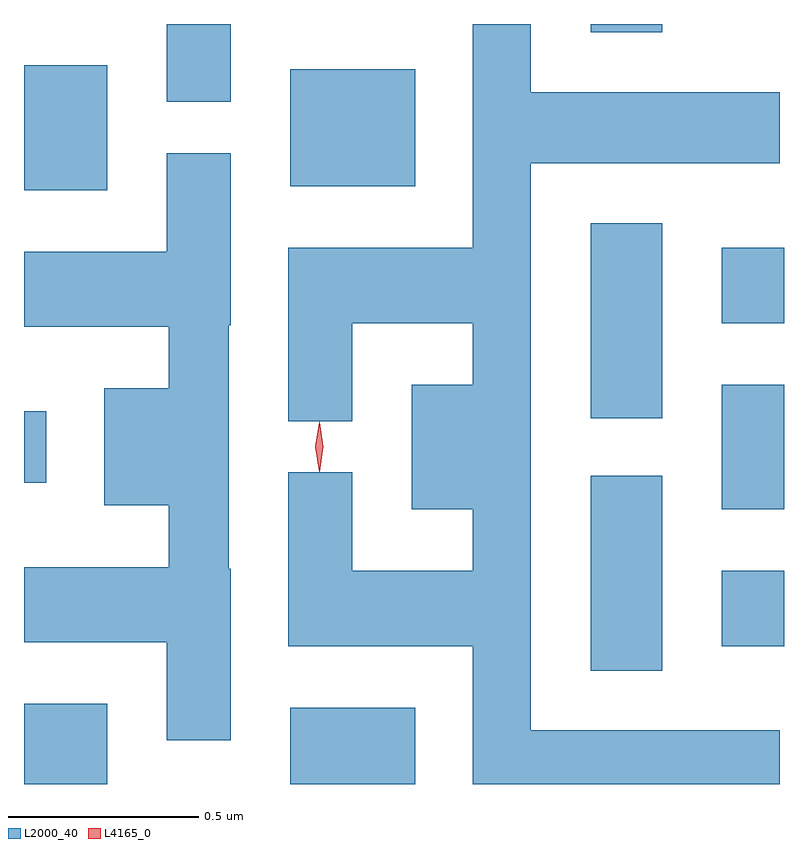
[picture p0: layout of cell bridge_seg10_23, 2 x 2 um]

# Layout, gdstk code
import gdstk
lib = gdstk.Library(unit=1e-6, precision=1e-09)
def R(c, l, rs):  # rectangles x0, y0, x1, y1
    for r in rs: c.add(gdstk.rectangle(r[:2], r[2:], *l))
def P(c, l, *ps):  # polygons
    for p in ps: c.add(gdstk.Polygon(p, *l))
L2000_40 = (2000, 40)
L4165_0 = (4165, 0)

bridge_seg10_23 = lib.new_cell('bridge_seg10_23')
R(bridge_seg10_23, L2000_40, [(1786.885,2163.243,1787.104,2163.454), (1787.586,2163.243,1787.914,2163.444), (1788.376,2163.541,1788.564,2164.054), (1788.721,2163.606,1788.885,2163.804), (1788.721,2163.966,1788.885,2164.294), (1786.885,2164.036,1786.944,2164.224), (1788.376,2164.206,1788.564,2164.719), (1788.721,2164.456,1788.885,2164.654), (1786.885,2164.806,1787.104,2165.134), (1787.586,2164.816,1787.914,2165.124), (1787.261,2165.038,1787.429,2165.243), (1788.376,2165.221,1788.564,2165.243)])
P(bridge_seg10_23, L2000_40, [(1788.874,2163.384),(1788.219,2163.384),(1788.219,2164.876),(1788.874,2164.876),(1788.874,2165.064),(1788.219,2165.064),(1788.219,2165.243),(1788.066,2165.243),(1788.066,2164.654),(1787.581,2164.654),(1787.581,2164.198),(1787.749,2164.198),(1787.749,2164.456),(1788.066,2164.456),(1788.066,2164.294),(1787.906,2164.294),(1787.906,2163.966),(1788.066,2163.966),(1788.066,2163.804),(1787.749,2163.804),(1787.749,2164.063),(1787.581,2164.063),(1787.581,2163.606),(1788.066,2163.606),(1788.066,2163.243),(1788.874,2163.243)],
  [(1787.429,2163.81),(1787.424,2163.81),(1787.424,2164.45),(1787.429,2164.45),(1787.429,2164.903),(1787.261,2164.903),(1787.261,2164.644),(1786.885,2164.644),(1786.885,2164.446),(1787.266,2164.446),(1787.266,2164.284),(1787.096,2164.284),(1787.096,2163.976),(1787.266,2163.976),(1787.266,2163.814),(1786.885,2163.814),(1786.885,2163.616),(1787.261,2163.616),(1787.261,2163.358),(1787.429,2163.358)])
P(bridge_seg10_23, L4165_0, [(1787.662,2164.064),(1787.662,2164.065),(1787.652,2164.13),(1787.662,2164.195),(1787.662,2164.196),(1787.663,2164.195),(1787.672,2164.13),(1787.663,2164.065)])

lib.write_gds('bridge_seg10_23.gds')
